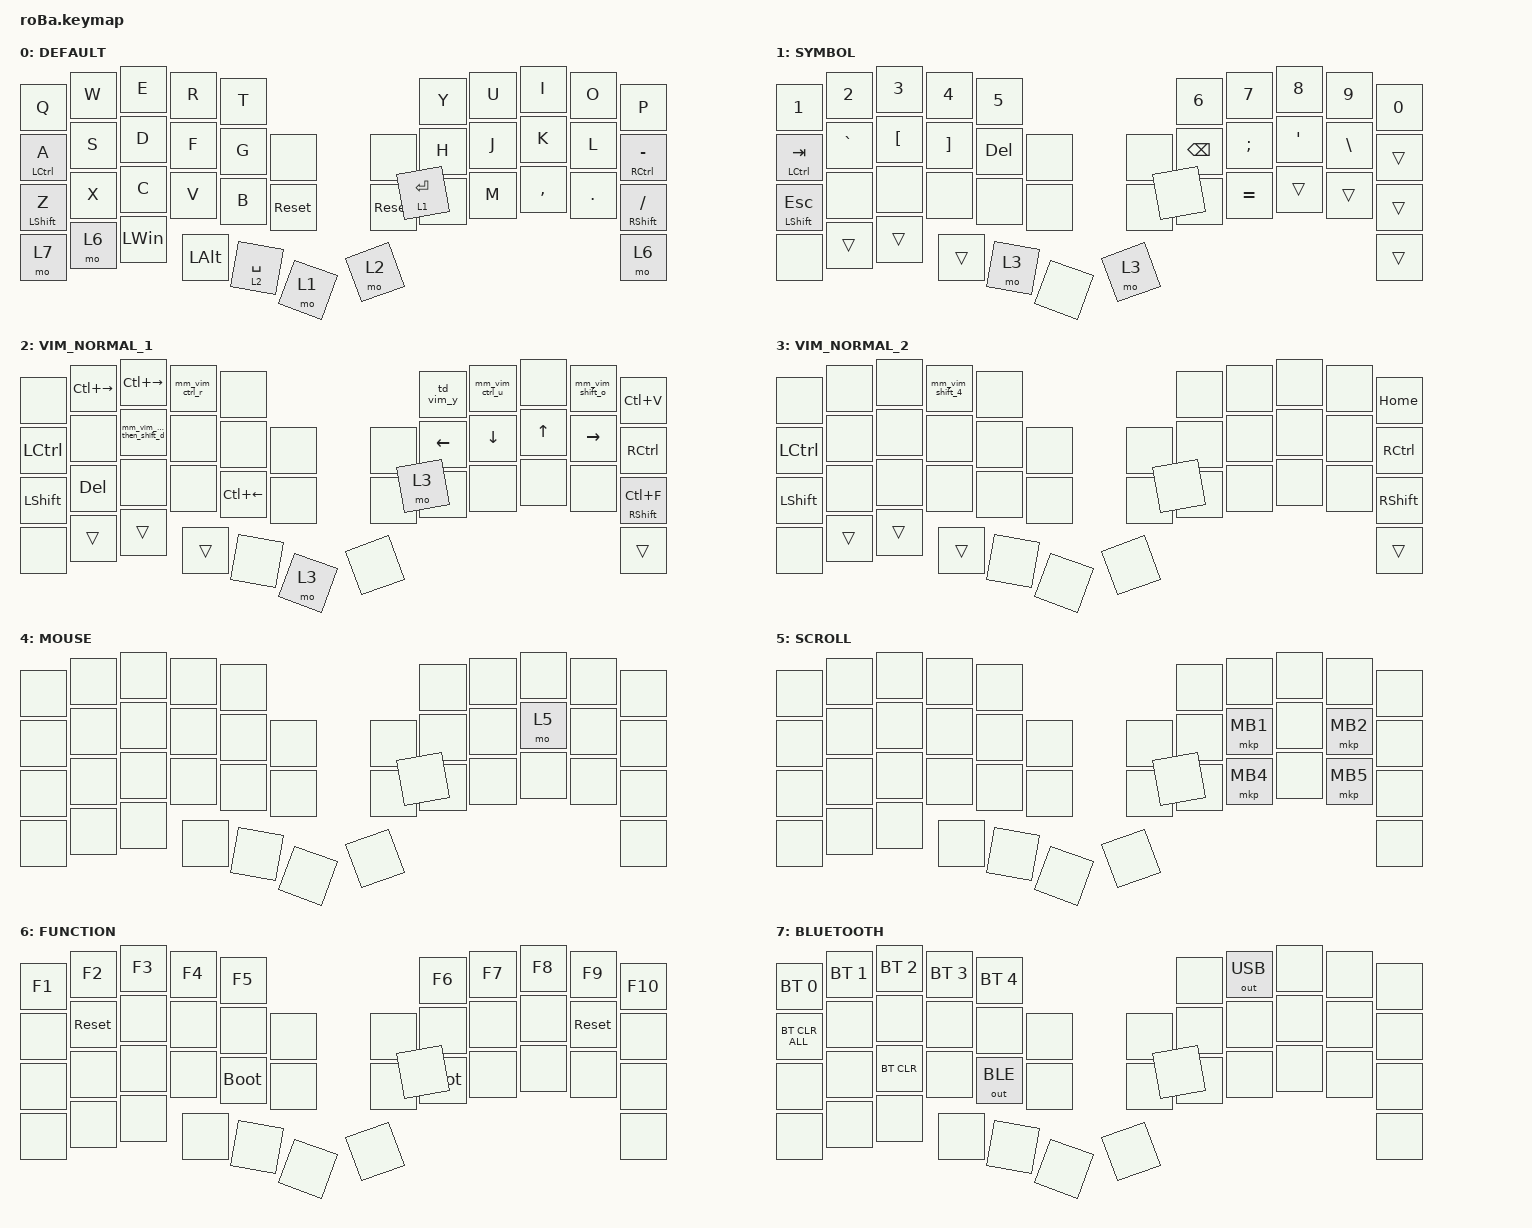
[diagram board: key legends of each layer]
#include <input/processors.dtsi>
#include <behaviors.dtsi>
#include <dt-bindings/zmk/bt.h>
#include <dt-bindings/zmk/keys.h>
#include <dt-bindings/zmk/outputs.h>
#include <dt-bindings/zmk/pointing.h>

&mt {
    quick-tap-ms = <150>;
    tapping-term-ms = <150>;
    flavor = "balanced";
};

&lt {
    tapping-term-ms = <150>;
    quick-tap-ms = <150>;
    flavor = "balanced";
};

&zip_temp_layer {
    excluded-positions = <
        19 // K
    >;

    require-prior-idle-ms = <200>;
};

&mkp_input_listener { input-processors = <&zip_temp_layer 4 10000>; };

/ {
    combos { compatible = "zmk,combos"; };

    macros {
        macro_vim_dd: macro_delete_line {
            compatible = "zmk,behavior-macro";
            #binding-cells = <0>;
            bindings =
                <&kp HOME>,
                <&macro_wait_time 100>,
                <&kp LS(END)>,
                <&macro_wait_time 100>,
                <&kp LC(X)>;

            label = "MACRO_DELETE_LINE";
        };

        macro_vim_yy: macro_yank_line {
            compatible = "zmk,behavior-macro";
            #binding-cells = <0>;
            bindings =
                <&kp HOME>,
                <&macro_wait_time 100>,
                <&kp LS(END)>,
                <&macro_wait_time 100>,
                <&kp LC(C)>;

            label = "MACRO_YANK_LINE";
        };

        macro_vim_shift_d: macro_vim_shift_d {
            compatible = "zmk,behavior-macro";
            #binding-cells = <0>;
            bindings = <&kp LS(END)>, <&macro_wait_time 100>, <&kp LC(X)>;

            label = "MACRO_VIM_SHIFT_D";
        };

        macro_vim_o: macro_vim_o {
            compatible = "zmk,behavior-macro";
            #binding-cells = <0>;
            bindings = <&kp END>, <&macro_wait_time 100>, <&kp ENTER>;

            label = "MACRO_VIM_O";
        };

        macro_vim_shift_o: macro_vim_shift_o {
            compatible = "zmk,behavior-macro";
            #binding-cells = <0>;
            bindings =
                <&kp HOME>,
                <&macro_wait_time 100>,
                <&kp ENTER>,
                <&macro_wait_time 100>,
                <&kp UP_ARROW>;

            label = "MACRO_VIM_SHIFT_O";
        };
    };

    behaviors {
        td_vim_d: td_vim_d {
            compatible = "zmk,behavior-tap-dance";
            label = "TD_VIM_D";
            #binding-cells = <0>;
            bindings = <&kp LC(X)>, <&macro_vim_dd>;
        };

        mm_vim_shift_d: mm_vim_shift_d {
            compatible = "zmk,behavior-mod-morph";
            label = "MM_VIM_SHIFT_D";
            bindings = <&td_vim_d>, <&macro_vim_shift_d>;

            #binding-cells = <0>;
            mods = <(MOD_LSFT|MOD_RSFT)>;
        };

        td_vim_y: td_vim_y {
            compatible = "zmk,behavior-tap-dance";
            label = "TD_VIM_Y";
            #binding-cells = <0>;
            bindings = <&kp LC(C)>, <&macro_vim_yy>;
        };

        mm_vim_ctrl_u: mm_vim_ctrl_u {
            compatible = "zmk,behavior-mod-morph";
            label = "MM_VIM_CTRL_U";
            bindings = <&kp LC(Z)>, <&kp PAGE_UP>;

            #binding-cells = <0>;
            mods = <(MOD_LCTL|MOD_RCTL)>;
        };

        mm_vim_shift_o: mm_vim_shift_o {
            compatible = "zmk,behavior-mod-morph";
            label = "MM_VIM_SHIFT_O";
            bindings = <&macro_vim_o>, <&macro_vim_shift_o>;

            #binding-cells = <0>;
            mods = <(MOD_LSFT|MOD_RSFT)>;
        };

        mm_vim_ctrl_then_shift_d: mm_vim_ctrl_then_shift_d {
            compatible = "zmk,behavior-mod-morph";
            label = "MM_VIM_CTRL_THEN_SHIFT_D";
            bindings = <&mm_vim_shift_d>, <&kp PAGE_DOWN>;

            #binding-cells = <0>;
            mods = <(MOD_LCTL|MOD_RCTL)>;
        };

        mm_vim_shift_4: mm_vim_shift_4 {
            compatible = "zmk,behavior-mod-morph";
            label = "MM_VIM_SHIFT_4";
            bindings = <&none>, <&kp END>;

            #binding-cells = <0>;
            mods = <(MOD_LSFT|MOD_RSFT)>;
        };

        mm_vim_ctrl_r: mm_vim_ctrl_r {
            compatible = "zmk,behavior-mod-morph";
            label = "MM_VIM_CTRL_R";
            bindings = <&none>, <&kp LC(Y)>;

            #binding-cells = <0>;
            mods = <(MOD_LCTL|MOD_RCTL)>;
        };
    };

    keymap {
        compatible = "zmk,keymap";

        DEFAULT {
            bindings = <
&kp Q               &kp W  &kp E         &kp R         &kp T                                    &kp Y        &kp U  &kp I      &kp O       &kp P
&mt LEFT_CONTROL A  &kp S  &kp D         &kp F         &kp G        &none           &none       &kp H        &kp J  &kp K      &kp L       &mt RCTRL MINUS
&mt LEFT_SHIFT Z    &kp X  &kp C         &kp V         &kp B        &sys_reset      &sys_reset  &kp N        &kp M  &kp COMMA  &kp PERIOD  &mt RIGHT_SHIFT SLASH
&mo 7               &mo 6  &kp LEFT_WIN  &kp LEFT_ALT  &lt 2 SPACE  &mo 1           &mo 2       &lt 1 ENTER                                &mo 6
            >;
        };

        SYMBOL {
            bindings = <
&kp N1                 &kp N2     &kp N3            &kp N4             &kp N5                        &kp N6         &kp N7         &kp N8            &kp N9         &kp N0
&mt LCTRL TAB          &kp GRAVE  &kp LEFT_BRACKET  &kp RIGHT_BRACKET  &kp DELETE  &none      &none  &kp BACKSPACE  &kp SEMICOLON  &kp SINGLE_QUOTE  &kp BACKSLASH  &trans
&mt LEFT_SHIFT ESCAPE  &none      &none             &none              &none       &none      &none  &none          &kp EQUAL      &trans            &trans         &trans
&none                  &trans     &trans            &trans             &mo 3       &none      &mo 3  &none                                                          &trans
            >;
        };

        VIM_NORMAL_1 {
            bindings = <
&none           &kp LC(RIGHT)  &kp LC(RIGHT)              &mm_vim_ctrl_r  &none                           &td_vim_y  &mm_vim_ctrl_u  &none         &mm_vim_shift_o  &kp LC(V)
&kp LCTRL       &none          &mm_vim_ctrl_then_shift_d  &none           &none         &none      &none  &kp LEFT   &kp DOWN        &kp UP_ARROW  &kp RIGHT        &kp RCTRL
&kp LEFT_SHIFT  &kp DELETE     &none                      &none           &kp LC(LEFT)  &none      &none  &none      &none           &none         &none            &mt RIGHT_SHIFT LC(F)
&none           &trans         &trans                     &trans          &none         &mo 3      &none  &mo 3                                                     &trans
            >;
        };

        VIM_NORMAL_2 {
            bindings = <
&none           &none   &none   &mm_vim_shift_4  &none                    &none  &none  &none  &none  &kp HOME
&kp LCTRL       &none   &none   &none            &none  &none      &none  &none  &none  &none  &none  &kp RCTRL
&kp LEFT_SHIFT  &none   &none   &none            &none  &none      &none  &none  &none  &none  &none  &kp RIGHT_SHIFT
&none           &trans  &trans  &trans           &none  &none      &none  &none                       &trans
            >;
        };

        MOUSE {
            bindings = <
&none  &none  &none  &none  &none                    &none  &none  &none  &none  &none
&none  &none  &none  &none  &none  &none      &none  &none  &none  &mo 5  &none  &none
&none  &none  &none  &none  &none  &none      &none  &none  &none  &none  &none  &none
&none  &none  &none  &none  &none  &none      &none  &none                       &none
            >;
        };

        SCROLL {
            bindings = <
&none  &none  &none  &none  &none                    &none  &none     &none  &none     &none
&none  &none  &none  &none  &none  &none      &none  &none  &mkp MB1  &none  &mkp MB2  &none
&none  &none  &none  &none  &none  &none      &none  &none  &mkp MB4  &none  &mkp MB5  &none
&none  &none  &none  &none  &none  &none      &none  &none                             &none
            >;
        };

        FUNCTION {
            bindings = <
&kp F1  &kp F2      &kp F3  &kp F4  &kp F5                         &kp F6       &kp F7  &kp F8  &kp F9      &kp F10
&none   &sys_reset  &none   &none   &none        &none      &none  &none        &none   &none   &sys_reset  &none
&none   &none       &none   &none   &bootloader  &none      &none  &bootloader  &none   &none   &none       &none
&none   &none       &none   &none   &none        &none      &none  &none                                    &none
            >;
        };

        BLUETOOTH {
            bindings = <
&bt BT_SEL 0    &bt BT_SEL 1  &bt BT_SEL 2  &bt BT_SEL 3  &bt BT_SEL 4                    &none  &out OUT_USB  &none  &none  &none
&bt BT_CLR_ALL  &none         &none         &none         &none         &none      &none  &none  &none         &none  &none  &none
&none           &none         &bt BT_CLR    &none         &out OUT_BLE  &none      &none  &none  &none         &none  &none  &none
&none           &none         &none         &none         &none         &none      &none  &none                              &none
            >;
        };
    };
};
